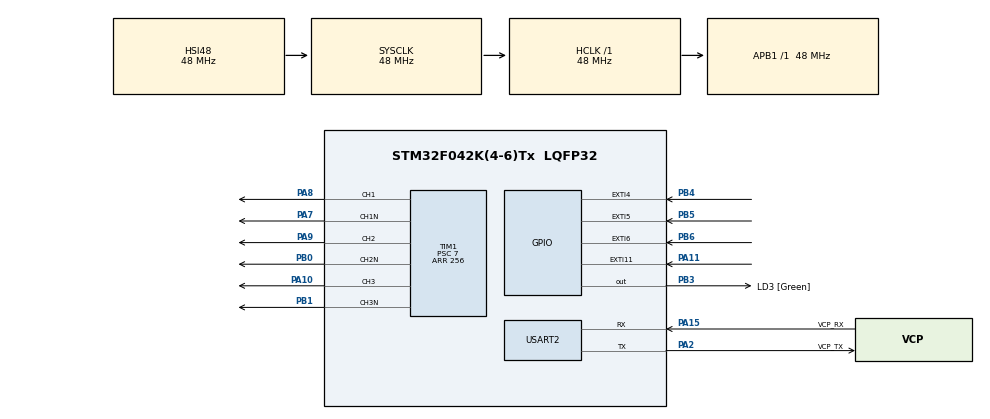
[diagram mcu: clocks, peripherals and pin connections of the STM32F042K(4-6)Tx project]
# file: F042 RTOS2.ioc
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FREERTOS.Tasks01=defaultTask,0,128,StartDefaultTask,Default,NULL,Dynamic,NULL,NULL;helloWorld,-3,128,StartTask02,Default,NULL,Dynamic,NULL,NULL
Mcu.Family=STM32F0
Mcu.Name=STM32F042K(4-6)Tx
Mcu.Package=LQFP32
NVIC.EXTI4_15_IRQn=true\:3\:0\:false\:false\:true\:true\:true\:true
NVIC.TIM16_IRQn=true\:0\:0\:false\:false\:true\:false\:false\:true
NVIC.TIM17_IRQn=true\:3\:0\:false\:false\:true\:true\:true\:true
NVIC.TimeBase=TIM16_IRQn
NVIC.TimeBaseIP=TIM16
PA10.Signal=S_TIM1_CH3
PA11.GPIO_ModeDefaultEXTI=GPIO_MODE_IT_RISING_FALLING
PA11.GPIO_PuPd=GPIO_PULLUP
PA11.Signal=GPXTI11
PA13.GPIO_Label=SWDIO
PA13.Mode=Serial_Wire
PA13.Signal=SYS_SWDIO
PA14.GPIO_Label=SWCLK
PA14.Mode=Serial_Wire
PA14.Signal=SYS_SWCLK
PA15.GPIO_Label=VCP_RX
PA15.Mode=Asynchronous
PA15.Signal=USART2_RX
PA2.GPIO_Label=VCP_TX
PA2.Mode=Asynchronous
PA2.Signal=USART2_TX
PA7.Mode=PWM Generation1 CH1 CH1N
PA7.Signal=TIM1_CH1N
PA8.Signal=S_TIM1_CH1
PA9.Signal=S_TIM1_CH2
PB0.Mode=PWM Generation2 CH2 CH2N
PB0.Signal=TIM1_CH2N
PB1.Mode=PWM Generation3 CH3 CH3N
PB1.Signal=TIM1_CH3N
PB3.GPIO_Label=LD3 [Green]
PB3.Signal=GPIO_Output
PB4.GPIO_ModeDefaultEXTI=GPIO_MODE_IT_RISING_FALLING
PB4.GPIO_PuPd=GPIO_PULLUP
PB4.Signal=GPXTI4
PB5.GPIO_ModeDefaultEXTI=GPIO_MODE_IT_RISING_FALLING
PB5.GPIO_PuPd=GPIO_PULLUP
PB5.Signal=GPXTI5
PB6.GPIO_ModeDefaultEXTI=GPIO_MODE_IT_RISING_FALLING
PB6.GPIO_PuPd=GPIO_PULLUP
PB6.Signal=GPXTI6
PF0-OSC_IN.GPIO_Label=MCO
PF0-OSC_IN.Mode=HSE-External-Clock-Source
PF0-OSC_IN.Signal=RCC_OSC_IN
ProjectManager.HeapSize=0x200
ProjectManager.StackSize=0x400
ProjectManager.TargetToolchain=SW4STM32
RCC.AHBFreq_Value=48000000
RCC.APB1Freq_Value=48000000
RCC.APB1TimFreq_Value=48000000
RCC.HCLKFreq_Value=48000000
RCC.SYSCLKFreq_VALUE=48000000
RCC.SYSCLKSource=RCC_SYSCLKSOURCE_HSI48
SH.S_TIM1_CH1.0=TIM1_CH1,PWM Generation1 CH1 CH1N
SH.S_TIM1_CH2.0=TIM1_CH2,PWM Generation2 CH2 CH2N
SH.S_TIM1_CH3.0=TIM1_CH3,PWM Generation3 CH3 CH3N
TIM1.Channel-PWM\ Generation1\ CH1\ CH1N=TIM_CHANNEL_1
TIM1.Channel-PWM\ Generation2\ CH2\ CH2N=TIM_CHANNEL_2
TIM1.Channel-PWM\ Generation3\ CH3\ CH3N=TIM_CHANNEL_3
TIM1.ClockDivision=TIM_CLOCKDIVISION_DIV4
TIM1.DeadTime=10
TIM1.Period=256
TIM1.Prescaler=7
TIM17.AutoReloadPreload=TIM_AUTORELOAD_PRELOAD_ENABLE
TIM17.Period=1000
TIM17.Prescaler=479
USART2.VirtualMode-Asynchronous=VM_ASYNC
VP_FREERTOS_VS_CMSIS_V1.Mode=CMSIS_V1
VP_SYS_VS_tim16.Mode=TIM16
VP_TIM17_VS_ClockSourceINT.Mode=Enable_Timer
board=NUCLEO-F042K6

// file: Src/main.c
/* USER CODE BEGIN Header */
/**
  ******************************************************************************
  * @file           : main.c
  * @brief          : Main program body
  ******************************************************************************
  * @attention
  *
  * <h2><center>&copy; Copyright (c) 2019 STMicroelectronics.
  * All rights reserved.</center></h2>
  *
  * This software component is licensed by ST under Ultimate Liberty license
  * SLA0044, the "License"; You may not use this file except in compliance with
  * the License. You may obtain a copy of the License at:
  *                             www.st.com/SLA0044
  *
  ******************************************************************************
  */
/* USER CODE END Header */

#include "main.h"
#include "cmsis_os.h"

TIM_HandleTypeDef htim1;
TIM_HandleTypeDef htim17;

UART_HandleTypeDef huart2;

osThreadId defaultTaskHandle;
osThreadId helloWorldHandle;
/* USER CODE BEGIN PV */
uint16_t PWMHigh = 100;
uint16_t PWMLow = 0;

/* USER CODE END PV */

void SystemClock_Config(void);
static void MX_GPIO_Init(void);
static void MX_USART2_UART_Init(void);
static void MX_TIM17_Init(void);
static void MX_TIM1_Init(void);
void StartDefaultTask(void const * argument);
void StartTask02(void const * argument);

/* USER CODE BEGIN 0 */
int fputc(int ch, FILE *f)
{
    HAL_UART_Transmit(&huart2, (unsigned char *)&ch, 2, 100);
    return ch;
}
/* USER CODE END 0 */

int main(void)
{

  /* MCU Configuration--------------------------------------------------------*/

  /* Reset of all peripherals, Initializes the Flash interface and the Systick. */
  HAL_Init();

  /* Configure the system clock */
  SystemClock_Config();

  /* Initialize all configured peripherals */
  MX_GPIO_Init();
  MX_USART2_UART_Init();
  MX_TIM17_Init();
  MX_TIM1_Init();
  /* USER CODE BEGIN 2 */
HAL_TIM_Base_Start_IT(&htim17);

HAL_TIM_PWM_Start(&htim1,TIM_CHANNEL_1);
HAL_TIM_PWM_Start(&htim1,TIM_CHANNEL_2);
HAL_TIM_PWM_Start(&htim1,TIM_CHANNEL_3);
HAL_TIMEx_PWMN_Start(&htim1, TIM_CHANNEL_1);
HAL_TIMEx_PWMN_Start(&htim1, TIM_CHANNEL_2);
HAL_TIMEx_PWMN_Start(&htim1, TIM_CHANNEL_3);
__HAL_TIM_SET_COMPARE(&htim1,TIM_CHANNEL_1,5);
__HAL_TIM_SET_COMPARE(&htim1,TIM_CHANNEL_2,5);
__HAL_TIM_SET_COMPARE(&htim1,TIM_CHANNEL_3,5);

  /* USER CODE END 2 */

  /* Create the thread(s) */
  /* definition and creation of defaultTask */
  osThreadDef(defaultTask, StartDefaultTask, osPriorityNormal, 0, 128);
  defaultTaskHandle = osThreadCreate(osThread(defaultTask), NULL);

  /* definition and creation of helloWorld */
  osThreadDef(helloWorld, StartTask02, osPriorityIdle, 0, 128);
  helloWorldHandle = osThreadCreate(osThread(helloWorld), NULL);

  /* USER CODE BEGIN RTOS_THREADS */
  /* add threads, ... */
  printf("Hello World from startup");

  /* USER CODE END RTOS_THREADS */

  /* Start scheduler */
  osKernelStart();

  /* We should never get here as control is now taken by the scheduler */

  /* Infinite loop */
  while (1)
  {

  }
}

void SystemClock_Config(void)
{
  RCC_OscInitTypeDef RCC_OscInitStruct = {0};
  RCC_ClkInitTypeDef RCC_ClkInitStruct = {0};

  /** Initializes the CPU, AHB and APB busses clocks
  */
  RCC_OscInitStruct.OscillatorType = RCC_OSCILLATORTYPE_HSI48;
  RCC_OscInitStruct.HSI48State = RCC_HSI48_ON;
  RCC_OscInitStruct.PLL.PLLState = RCC_PLL_NONE;
  if (HAL_RCC_OscConfig(&RCC_OscInitStruct) != HAL_OK)
  {
    Error_Handler();
  }
  /** Initializes the CPU, AHB and APB busses clocks
  */
  RCC_ClkInitStruct.ClockType = RCC_CLOCKTYPE_HCLK|RCC_CLOCKTYPE_SYSCLK
                              |RCC_CLOCKTYPE_PCLK1;
  RCC_ClkInitStruct.SYSCLKSource = RCC_SYSCLKSOURCE_HSI48;
  RCC_ClkInitStruct.AHBCLKDivider = RCC_SYSCLK_DIV1;
  RCC_ClkInitStruct.APB1CLKDivider = RCC_HCLK_DIV1;

  if (HAL_RCC_ClockConfig(&RCC_ClkInitStruct, FLASH_LATENCY_1) != HAL_OK)
  {
    Error_Handler();
  }
}

static void MX_TIM1_Init(void)
{

  TIM_MasterConfigTypeDef sMasterConfig = {0};
  TIM_OC_InitTypeDef sConfigOC = {0};
  TIM_BreakDeadTimeConfigTypeDef sBreakDeadTimeConfig = {0};

  htim1.Instance = TIM1;
  htim1.Init.Prescaler = 7;
  htim1.Init.CounterMode = TIM_COUNTERMODE_UP;
  htim1.Init.Period = 256;
  htim1.Init.ClockDivision = TIM_CLOCKDIVISION_DIV4;
  htim1.Init.RepetitionCounter = 0;
  htim1.Init.AutoReloadPreload = TIM_AUTORELOAD_PRELOAD_DISABLE;
  if (HAL_TIM_PWM_Init(&htim1) != HAL_OK)
  {
    Error_Handler();
  }
  sMasterConfig.MasterOutputTrigger = TIM_TRGO_RESET;
  sMasterConfig.MasterSlaveMode = TIM_MASTERSLAVEMODE_DISABLE;
  if (HAL_TIMEx_MasterConfigSynchronization(&htim1, &sMasterConfig) != HAL_OK)
  {
    Error_Handler();
  }
  sConfigOC.OCMode = TIM_OCMODE_PWM1;
  sConfigOC.Pulse = 0;
  sConfigOC.OCPolarity = TIM_OCPOLARITY_HIGH;
  sConfigOC.OCNPolarity = TIM_OCNPOLARITY_HIGH;
  sConfigOC.OCFastMode = TIM_OCFAST_DISABLE;
  sConfigOC.OCIdleState = TIM_OCIDLESTATE_RESET;
  sConfigOC.OCNIdleState = TIM_OCNIDLESTATE_RESET;
  if (HAL_TIM_PWM_ConfigChannel(&htim1, &sConfigOC, TIM_CHANNEL_1) != HAL_OK)
  {
    Error_Handler();
  }
  if (HAL_TIM_PWM_ConfigChannel(&htim1, &sConfigOC, TIM_CHANNEL_2) != HAL_OK)
  {
    Error_Handler();
  }
  if (HAL_TIM_PWM_ConfigChannel(&htim1, &sConfigOC, TIM_CHANNEL_3) != HAL_OK)
  {
    Error_Handler();
  }
  sBreakDeadTimeConfig.OffStateRunMode = TIM_OSSR_DISABLE;
  sBreakDeadTimeConfig.OffStateIDLEMode = TIM_OSSI_DISABLE;
  sBreakDeadTimeConfig.LockLevel = TIM_LOCKLEVEL_OFF;
  sBreakDeadTimeConfig.DeadTime = 10;
  sBreakDeadTimeConfig.BreakState = TIM_BREAK_DISABLE;
  sBreakDeadTimeConfig.BreakPolarity = TIM_BREAKPOLARITY_HIGH;
  sBreakDeadTimeConfig.AutomaticOutput = TIM_AUTOMATICOUTPUT_DISABLE;
  if (HAL_TIMEx_ConfigBreakDeadTime(&htim1, &sBreakDeadTimeConfig) != HAL_OK)
  {
    Error_Handler();
  }
  HAL_TIM_MspPostInit(&htim1);

}

static void MX_TIM17_Init(void)
{

  htim17.Instance = TIM17;
  htim17.Init.Prescaler = 479;
  htim17.Init.CounterMode = TIM_COUNTERMODE_UP;
  htim17.Init.Period = 1000;
  htim17.Init.ClockDivision = TIM_CLOCKDIVISION_DIV1;
  htim17.Init.RepetitionCounter = 0;
  htim17.Init.AutoReloadPreload = TIM_AUTORELOAD_PRELOAD_ENABLE;
  if (HAL_TIM_Base_Init(&htim17) != HAL_OK)
  {
    Error_Handler();
  }

}

static void MX_USART2_UART_Init(void)
{

  huart2.Instance = USART2;
  huart2.Init.BaudRate = 38400;
  huart2.Init.WordLength = UART_WORDLENGTH_8B;
  huart2.Init.StopBits = UART_STOPBITS_1;
  huart2.Init.Parity = UART_PARITY_NONE;
  huart2.Init.Mode = UART_MODE_TX_RX;
  huart2.Init.HwFlowCtl = UART_HWCONTROL_NONE;
  huart2.Init.OverSampling = UART_OVERSAMPLING_16;
  huart2.Init.OneBitSampling = UART_ONE_BIT_SAMPLE_DISABLE;
  huart2.AdvancedInit.AdvFeatureInit = UART_ADVFEATURE_NO_INIT;
  if (HAL_UART_Init(&huart2) != HAL_OK)
  {
    Error_Handler();
  }

}

static void MX_GPIO_Init(void)
{
  GPIO_InitTypeDef GPIO_InitStruct = {0};

  /* GPIO Ports Clock Enable */
  __HAL_RCC_GPIOF_CLK_ENABLE();
  __HAL_RCC_GPIOA_CLK_ENABLE();
  __HAL_RCC_GPIOB_CLK_ENABLE();

  /*Configure GPIO pin Output Level */
  HAL_GPIO_WritePin(LD3_GPIO_Port, LD3_Pin, GPIO_PIN_RESET);

  /*Configure GPIO pin : PA11 */
  GPIO_InitStruct.Pin = GPIO_PIN_11;
  GPIO_InitStruct.Mode = GPIO_MODE_IT_RISING_FALLING;
  GPIO_InitStruct.Pull = GPIO_PULLUP;
  HAL_GPIO_Init(GPIOA, &GPIO_InitStruct);

  /*Configure GPIO pin : LD3_Pin */
  GPIO_InitStruct.Pin = LD3_Pin;
  GPIO_InitStruct.Mode = GPIO_MODE_OUTPUT_PP;
  GPIO_InitStruct.Pull = GPIO_NOPULL;
  GPIO_InitStruct.Speed = GPIO_SPEED_FREQ_LOW;
  HAL_GPIO_Init(LD3_GPIO_Port, &GPIO_InitStruct);

  /*Configure GPIO pins : PB4 PB5 PB6 */
  GPIO_InitStruct.Pin = GPIO_PIN_4|GPIO_PIN_5|GPIO_PIN_6;
  GPIO_InitStruct.Mode = GPIO_MODE_IT_RISING_FALLING;
  GPIO_InitStruct.Pull = GPIO_PULLUP;
  HAL_GPIO_Init(GPIOB, &GPIO_InitStruct);

  /* EXTI interrupt init*/
  HAL_NVIC_SetPriority(EXTI4_15_IRQn, 3, 0);
  HAL_NVIC_EnableIRQ(EXTI4_15_IRQn);

}

/* USER CODE BEGIN 4 */
static int step=1;
uint32_t tmpccmrx = 0;
int hallStep =0;

void HAL_GPIO_EXTI_Callback(uint16_t GPIO_Pin)
{
HAL_GPIO_TogglePin(LD3_GPIO_Port,LD3_Pin);
hallStep = HAL_GPIO_ReadPin(GPIOB,GPIO_PIN_4)|(HAL_GPIO_ReadPin(GPIOB,GPIO_PIN_5)<<1)|(HAL_GPIO_ReadPin(GPIOA,GPIO_PIN_11)<<2);
//HAL_UART_Transmit(&huart2,(uint8_t) hallStep,2,5);
char lol[32];
sprintf(lol, "lol %u \r", (unsigned int)hallStep);
HAL_UART_Transmit(&huart2, (uint8_t*)lol, strlen(lol),5);
}

/* USER CODE END 4 */

/* USER CODE BEGIN Header_StartDefaultTask */
/**
  * @brief  Function implementing the defaultTask thread.
  * @param  argument: Not used
  * @retval None
  */
int tempARR=0;
/* USER CODE END Header_StartDefaultTask */
void StartDefaultTask(void const * argument)
{

  /* USER CODE BEGIN 5 */
  /* Infinite loop */
  for(;;)
  {
	   tempARR=htim17.Instance->ARR;
	  char lol[32];

	  	  	  	  sprintf(lol, "ARR= %u \r", (unsigned int)tempARR);
	  	  	  	  HAL_UART_Transmit(&huart2, (uint8_t*)lol, strlen(lol),5);
    osDelay(1000);
  }
  /* USER CODE END 5 */
}

/* USER CODE BEGIN Header_StartTask02 */
/**
* @brief Function implementing the helloWorld thread.
* @param argument: Not used
* @retval None
*/
static uint16_t comPeriod=200;
static uint16_t comPeriod2=400;
static uint16_t maxSpd=20;

static int dirPeriod=0;
/* USER CODE END Header_StartTask02 */
void StartTask02(void const * argument)
{
  /* USER CODE BEGIN StartTask02 */

  /* Infinite loop */
  for(;;)
  {
	  //HAL_UART_Transmit(&huart2, (uint8_t*)"Hello RTOS\r", 12,10);

	  if(comPeriod<50){
		  dirPeriod=1;
	  }
	  if(comPeriod>51){
		  dirPeriod=0;
	  }
	  if(dirPeriod==1){
		  comPeriod=comPeriod+1;
	  }
	  if(dirPeriod==0){
		  comPeriod=comPeriod-1;

	  }
	  if(comPeriod2>maxSpd){
		  comPeriod2=comPeriod2*0.99;
	  }
	  htim17.Instance->ARR=comPeriod2;

	//HAL_GPIO_TogglePin(LD3_GPIO_Port,LD3_Pin);
    osDelay(10);
  }
  /* USER CODE END StartTask02 */
}

void HAL_TIM_PeriodElapsedCallback(TIM_HandleTypeDef *htim)
{
  if (htim->Instance == TIM16) {
    HAL_IncTick();
  }
  /* USER CODE BEGIN Callback 1 */
  if (htim->Instance == TIM17) {
	  //HAL_UART_Transmit(&huart2, (uint8_t*)"Hello World\r", 13,10);

	  //char lol[32];
	  //sprintf(lol, "lol %u \r", (unsigned int)10);
	  //HAL_UART_Transmit(&huart2, (uint8_t*)lol, strlen(lol),5);

	  //This is where we put the switch statement for commuting the BLDC
	  switch(step){
	  case 1:
			tmpccmrx = htim1.Instance->CCMR1;
			tmpccmrx &= ~TIM_CCMR1_OC2M;
			tmpccmrx &= ~TIM_CCMR1_CC2S;
			tmpccmrx |= TIM_OCMODE_FORCED_INACTIVE<<8;
htim1.Instance->CCMR1 = tmpccmrx;
htim1.Instance->CCER &= ~TIM_CCER_CC2E;  //disable
htim1.Instance->CCER &= ~TIM_CCER_CC2NE;  //disable

		  __HAL_TIM_SET_COMPARE(&htim1,TIM_CHANNEL_1,PWMHigh);
		  //__HAL_TIM_SET_COMPARE(&htim1,TIM_CHANNEL_2,100);
		  __HAL_TIM_SET_COMPARE(&htim1,TIM_CHANNEL_3,PWMLow);

			tmpccmrx = htim1.Instance->CCMR1;
			tmpccmrx &= ~TIM_CCMR1_OC1M;
			tmpccmrx &= ~TIM_CCMR1_CC1S;
			tmpccmrx |= TIM_OCMODE_PWM1;
htim1.Instance->CCMR1 = tmpccmrx;
htim1.Instance->CCER |= TIM_CCER_CC1E;   //enable
htim1.Instance->CCER |= TIM_CCER_CC1NE;   //enable
		  	tmpccmrx = htim1.Instance->CCMR2;
            tmpccmrx &= ~TIM_CCMR2_OC3M;
            tmpccmrx &= ~TIM_CCMR2_CC3S;
            tmpccmrx |= TIM_OCMODE_PWM1;
htim1.Instance->CCMR2 = tmpccmrx;
htim1.Instance->CCER |= TIM_CCER_CC3E;   //enable
htim1.Instance->CCER |= TIM_CCER_CC3NE;   //enable
		  	  	  break;
	  case 2:
		   tmpccmrx = htim1.Instance->CCMR2;
		   tmpccmrx &= ~TIM_CCMR2_OC3M;
		   tmpccmrx &= ~TIM_CCMR2_CC3S;
		   tmpccmrx |= TIM_OCMODE_FORCED_INACTIVE;
htim1.Instance->CCMR2 = tmpccmrx;
htim1.Instance->CCER &= ~TIM_CCER_CC3E;  //disable
htim1.Instance->CCER &= ~TIM_CCER_CC3NE;  //disable

		  __HAL_TIM_SET_COMPARE(&htim1,TIM_CHANNEL_1,PWMHigh);
		  __HAL_TIM_SET_COMPARE(&htim1,TIM_CHANNEL_2,PWMLow);
		  //__HAL_TIM_SET_COMPARE(&htim1,TIM_CHANNEL_3,200);

			tmpccmrx = htim1.Instance->CCMR1;
			tmpccmrx &= ~TIM_CCMR1_OC1M;
			tmpccmrx &= ~TIM_CCMR1_CC1S;
			tmpccmrx |= TIM_OCMODE_PWM1;
htim1.Instance->CCMR1 = tmpccmrx;
htim1.Instance->CCER |= TIM_CCER_CC1E;   //enable
htim1.Instance->CCER |= TIM_CCER_CC1NE;   //enable
			tmpccmrx = htim1.Instance->CCMR1;
			tmpccmrx &= ~TIM_CCMR1_OC2M;
			tmpccmrx &= ~TIM_CCMR1_CC2S;
			tmpccmrx |= TIM_OCMODE_PWM1<<8;
htim1.Instance->CCMR1 = tmpccmrx;
htim1.Instance->CCER |= TIM_CCER_CC2E;   //enable
htim1.Instance->CCER |= TIM_CCER_CC2NE;   //enable
		  	  	  break;
	  case 3:
			tmpccmrx = htim1.Instance->CCMR1;
			tmpccmrx &= ~TIM_CCMR1_OC1M;
			tmpccmrx &= ~TIM_CCMR1_CC1S;
			tmpccmrx |= TIM_OCMODE_FORCED_INACTIVE;
htim1.Instance->CCMR1 = tmpccmrx;
htim1.Instance->CCER &= ~TIM_CCER_CC1E;  //disable
htim1.Instance->CCER &= ~TIM_CCER_CC1NE;  //disable

		  //__HAL_TIM_SET_COMPARE(&htim1,TIM_CHANNEL_1,100);
		  __HAL_TIM_SET_COMPARE(&htim1,TIM_CHANNEL_2,PWMLow);
		  __HAL_TIM_SET_COMPARE(&htim1,TIM_CHANNEL_3,PWMHigh);

			tmpccmrx = htim1.Instance->CCMR1;
			tmpccmrx &= ~TIM_CCMR1_OC2M;
			tmpccmrx &= ~TIM_CCMR1_CC2S;
			tmpccmrx |= TIM_OCMODE_PWM1<<8;
htim1.Instance->CCMR1 = tmpccmrx;
htim1.Instance->CCER |= TIM_CCER_CC2E;   //enable
htim1.Instance->CCER |= TIM_CCER_CC2NE;   //enable
			tmpccmrx = htim1.Instance->CCMR2;
			tmpccmrx &= ~TIM_CCMR2_OC3M;
			tmpccmrx &= ~TIM_CCMR2_CC3S;
			tmpccmrx |= TIM_OCMODE_PWM1;
htim1.Instance->CCMR2 = tmpccmrx;
htim1.Instance->CCER |= TIM_CCER_CC3E;   //enable
htim1.Instance->CCER |= TIM_CCER_CC3NE;   //enable
		  		  break;
	  case 4:
			tmpccmrx = htim1.Instance->CCMR1;
			tmpccmrx &= ~TIM_CCMR1_OC2M;
			tmpccmrx &= ~TIM_CCMR1_CC2S;
			tmpccmrx |= TIM_OCMODE_FORCED_INACTIVE<<8;
htim1.Instance->CCMR1 = tmpccmrx;
htim1.Instance->CCER &= ~TIM_CCER_CC2E;  //disable
htim1.Instance->CCER &= ~TIM_CCER_CC2NE;  //disable

		  __HAL_TIM_SET_COMPARE(&htim1,TIM_CHANNEL_1,PWMLow);
		  //__HAL_TIM_SET_COMPARE(&htim1,TIM_CHANNEL_2,200);
		  __HAL_TIM_SET_COMPARE(&htim1,TIM_CHANNEL_3,PWMHigh);

			tmpccmrx = htim1.Instance->CCMR1;
			tmpccmrx &= ~TIM_CCMR1_OC1M;
			tmpccmrx &= ~TIM_CCMR1_CC1S;
			tmpccmrx |= TIM_OCMODE_PWM1;
htim1.Instance->CCMR1 = tmpccmrx;
htim1.Instance->CCER |= TIM_CCER_CC1E;   //enable
htim1.Instance->CCER |= TIM_CCER_CC1NE;   //enable
			tmpccmrx = htim1.Instance->CCMR2;
			tmpccmrx &= ~TIM_CCMR2_OC3M;
			tmpccmrx &= ~TIM_CCMR2_CC3S;
			tmpccmrx |= TIM_OCMODE_PWM1;
htim1.Instance->CCMR2 = tmpccmrx;
htim1.Instance->CCER |= TIM_CCER_CC3E;   //enable
htim1.Instance->CCER |= TIM_CCER_CC3NE;   //enable
		  		  break;
	  case 5:
		   tmpccmrx = htim1.Instance->CCMR2;
		   tmpccmrx &= ~TIM_CCMR2_OC3M;
		   tmpccmrx &= ~TIM_CCMR2_CC3S;
		   tmpccmrx |= TIM_OCMODE_FORCED_INACTIVE;
htim1.Instance->CCMR2 = tmpccmrx;
htim1.Instance->CCER &= ~TIM_CCER_CC3E;  //disable
htim1.Instance->CCER &= ~TIM_CCER_CC3NE;  //disable

		  __HAL_TIM_SET_COMPARE(&htim1,TIM_CHANNEL_1,PWMLow);
		  __HAL_TIM_SET_COMPARE(&htim1,TIM_CHANNEL_2,PWMHigh);
		  //__HAL_TIM_SET_COMPARE(&htim1,TIM_CHANNEL_3,100);

			tmpccmrx = htim1.Instance->CCMR1;
			tmpccmrx &= ~TIM_CCMR1_OC1M;
			tmpccmrx &= ~TIM_CCMR1_CC1S;
			tmpccmrx |= TIM_OCMODE_PWM1;
htim1.Instance->CCMR1 = tmpccmrx;
htim1.Instance->CCER |= TIM_CCER_CC1E;   //enable
htim1.Instance->CCER |= TIM_CCER_CC1NE;   //enable
			tmpccmrx = htim1.Instance->CCMR1;
			tmpccmrx &= ~TIM_CCMR1_OC2M;
			tmpccmrx &= ~TIM_CCMR1_CC2S;
			tmpccmrx |= TIM_OCMODE_PWM1<<8;
htim1.Instance->CCMR1 = tmpccmrx;
htim1.Instance->CCER |= TIM_CCER_CC2E;   //enable
htim1.Instance->CCER |= TIM_CCER_CC2NE;   //enable
		  		  break;
	  case 6:
			tmpccmrx = htim1.Instance->CCMR1;
			tmpccmrx &= ~TIM_CCMR1_OC1M;
			tmpccmrx &= ~TIM_CCMR1_CC1S;
			tmpccmrx |= TIM_OCMODE_FORCED_INACTIVE;
htim1.Instance->CCMR1 = tmpccmrx;
htim1.Instance->CCER &= ~TIM_CCER_CC1E;  //disable
htim1.Instance->CCER &= ~TIM_CCER_CC1NE;  //disable

		  //__HAL_TIM_SET_COMPARE(&htim1,TIM_CHANNEL_1,200);
		  __HAL_TIM_SET_COMPARE(&htim1,TIM_CHANNEL_2,PWMHigh);
		  __HAL_TIM_SET_COMPARE(&htim1,TIM_CHANNEL_3,PWMLow);

			tmpccmrx = htim1.Instance->CCMR1;
			tmpccmrx &= ~TIM_CCMR1_OC2M;
			tmpccmrx &= ~TIM_CCMR1_CC2S;
			tmpccmrx |= TIM_OCMODE_PWM1<<8;
htim1.Instance->CCMR1 = tmpccmrx;
htim1.Instance->CCER |= TIM_CCER_CC2E;   //enable
htim1.Instance->CCER |= TIM_CCER_CC2NE;   //enable
			tmpccmrx = htim1.Instance->CCMR2;
			tmpccmrx &= ~TIM_CCMR2_OC3M;
			tmpccmrx &= ~TIM_CCMR2_CC3S;
			tmpccmrx |= TIM_OCMODE_PWM1;
htim1.Instance->CCMR2 = tmpccmrx;
htim1.Instance->CCER |= TIM_CCER_CC3E;   //enable
htim1.Instance->CCER |= TIM_CCER_CC3NE;   //enable
		  		  break;
	  default:
		  HAL_UART_Transmit(&huart2, (uint8_t*)"shit\r", 7,10);

	  }
	  step = step+1;
	  if(step>6){step=1;
	  HAL_GPIO_TogglePin(LD3_GPIO_Port,LD3_Pin);
}

	  //int tempARR=htim17.Instance->ARR;
	  	  	  //sprintf(lol, "ARR= %u \r", (unsigned int)tempARR);
	  	  	  //HAL_UART_Transmit(&huart2, (uint8_t*)lol, strlen(lol),5);

  }
  /* USER CODE END Callback 1 */
}

void Error_Handler(void)
{
}

/************************ (C) COPYRIGHT STMicroelectronics *****END OF FILE****/
